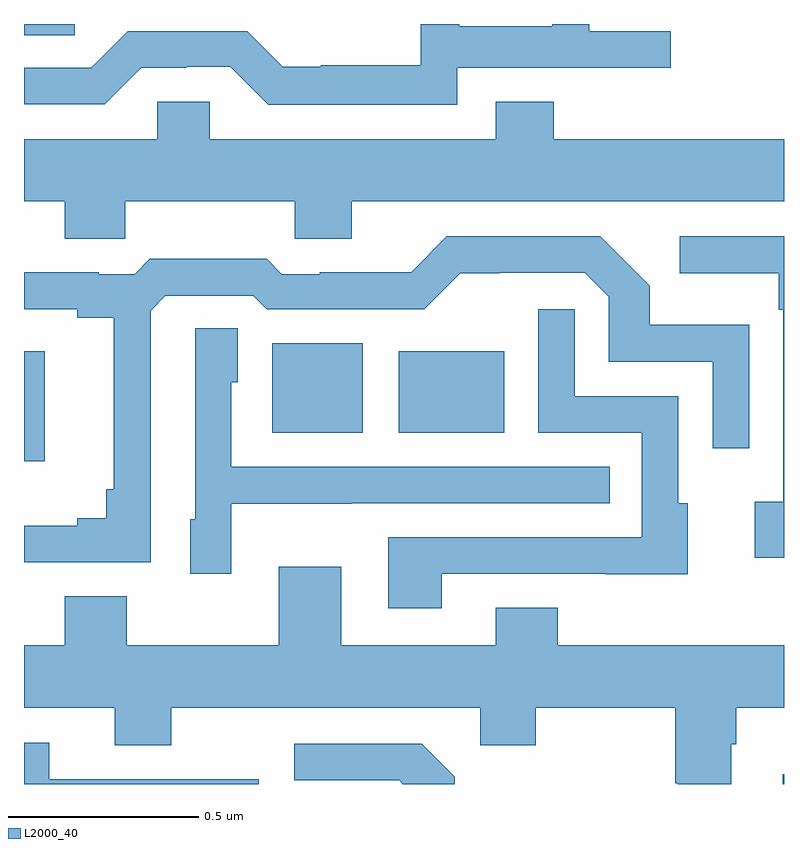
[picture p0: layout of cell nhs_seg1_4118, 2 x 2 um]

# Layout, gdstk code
import gdstk
lib = gdstk.Library(unit=1e-6, precision=1e-09)
def R(c, l, rs):  # rectangles x0, y0, x1, y1
    for r in rs: c.add(gdstk.rectangle(r[:2], r[2:], *l))
def P(c, l, *ps):  # polygons
    for p in ps: c.add(gdstk.Polygon(p, *l))
L2000_40 = (2000, 40)

nhs_seg1_4118 = lib.new_cell('nhs_seg1_4118')
R(nhs_seg1_4118, L2000_40, [(163.997,550.199,164,550.225), (162,551.048,162.055,551.338), (162.653,551.123,162.892,551.359), (162.986,551.123,163.264,551.338), (162,552.169,162.133,552.199)])
P(nhs_seg1_4118, L2000_40, [(163.14,552.084),(163.702,552.084),(163.702,552.18),(163.488,552.18),(163.488,552.199),(163.39,552.199),(163.39,552.193),(163.145,552.193),(163.145,552.199),(163.044,552.199),(163.044,552.091),(162.781,552.091),(162.781,552.087),(162.681,552.087),(162.588,552.18),(162.273,552.18),(162.177,552.084),(162,552.084),(162,551.988),(162.213,551.988),(162.309,552.084),(162.428,552.084),(162.428,552.087),(162.543,552.087),(162.643,551.987),(163.14,551.987)],
  [(162.267,551.732),(162.712,551.732),(162.712,551.634),(162.862,551.634),(162.862,551.732),(164,551.732),(164,551.896),(163.394,551.896),(163.394,551.995),(163.241,551.995),(163.241,551.896),(162.489,551.896),(162.489,551.994),(162.351,551.994),(162.351,551.896),(162,551.896),(162,551.732),(162.107,551.732),(162.107,551.634),(162.267,551.634)],
  [(162.333,551.445),(162.372,551.484),(162.603,551.484),(162.639,551.448),(163.053,551.448),(163.148,551.543),(163.252,551.543),(163.252,551.544),(163.476,551.544),(163.539,551.481),(163.539,551.31),(163.812,551.31),(163.812,551.082),(163.908,551.082),(163.908,551.407),(163.647,551.407),(163.647,551.51),(163.516,551.64),(163.113,551.64),(163.019,551.546),(162.778,551.546),(162.778,551.541),(162.678,551.541),(162.639,551.581),(162.331,551.581),(162.291,551.541),(162.197,551.541),(162.197,551.546),(162,551.546),(162,551.448),(162.14,551.448),(162.14,551.426),(162.236,551.426),(162.236,550.975),(162.217,550.975),(162.217,550.898),(162.14,550.898),(162.14,550.879),(162,550.879),(162,550.782),(162.333,550.782)],
  [(164,551.64),(163.725,551.64),(163.725,551.543),(163.986,551.543),(163.986,551.447),(163.998,551.447),(163.998,550.942),(163.923,550.942),(163.923,550.794),(164,550.794)],
  [(163.099,550.752),(163.529,550.752),(163.529,550.751),(163.747,550.751),(163.747,550.938),(163.722,550.938),(163.722,551.22),(163.449,551.22),(163.449,551.449),(163.353,551.449),(163.353,551.124),(163.626,551.124),(163.626,550.848),(162.959,550.848),(162.959,550.662),(163.099,550.662)],
  [(162.546,550.937),(162.863,550.937),(162.863,550.938),(163.541,550.938),(163.541,551.034),(162.546,551.034),(162.546,551.256),(162.562,551.256),(162.562,551.399),(162.45,551.399),(162.45,550.896),(162.437,550.896),(162.437,550.752),(162.546,550.752)],
  [(163.861,550.304),(163.874,550.304),(163.874,550.4),(164,550.4),(164,550.564),(163.405,550.564),(163.405,550.663),(163.241,550.663),(163.241,550.564),(162.835,550.564),(162.835,550.771),(162.671,550.771),(162.671,550.564),(162.271,550.564),(162.271,550.693),(162.107,550.693),(162.107,550.564),(162,550.564),(162,550.4),(162.239,550.4),(162.239,550.301),(162.387,550.301),(162.387,550.4),(163.2,550.4),(163.2,550.301),(163.347,550.301),(163.347,550.4),(163.714,550.4),(163.714,550.201),(163.721,550.201),(163.721,550.199),(163.861,550.199)],
  [(162.618,550.212),(162.067,550.212),(162.067,550.308),(162,550.308),(162,550.199),(162.618,550.199)],
  [(163.134,550.218),(163.047,550.305),(162.711,550.305),(162.711,550.209),(162.987,550.209),(162.997,550.199),(163.134,550.199)])

lib.write_gds('nhs_seg1_4118.gds')
